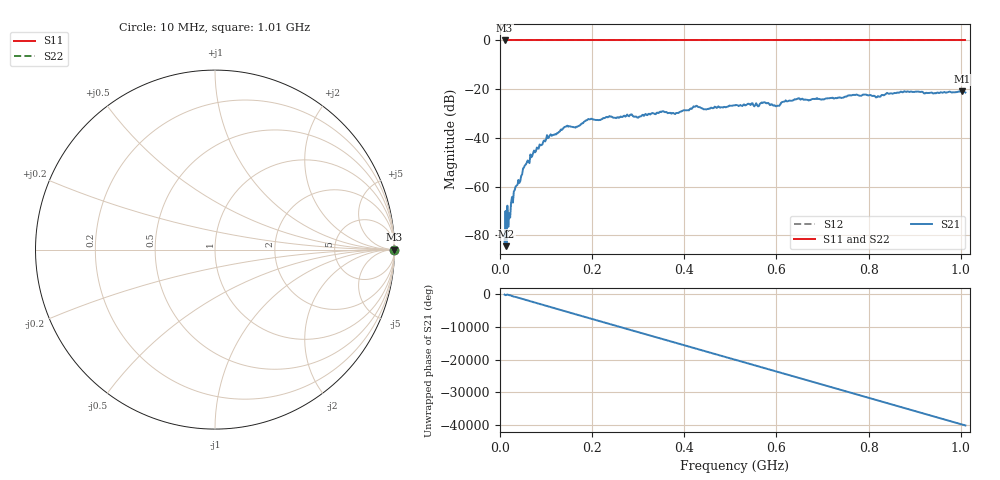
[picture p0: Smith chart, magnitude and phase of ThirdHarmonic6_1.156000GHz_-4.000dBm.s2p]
! 8/16/2025 11:31:48 AM
! C:\ANRITSUVNA\TEMP\TEMP.S2P
! CHANNEL.1
! TR.MEASUREMENT
! RAW.DATA
! RF.CORRECTION.OFF
! AVERAGING.OFF
! IF.BANDWIDTH: 5KHZ
! SWEEPTYPE:  FREQ.SWEEP(Linear)
! Reference Plane Port Info
! PORT:  PORT1  PORT2
! DISTANCE:  0  m  0  m
! TIME:  0  s  0  s
! PHASE.OFFSET:  0  deg.  0  deg.
! LOSS:  0  dB  0  dB
! REF.LOSS:  0  dB  0  dB
! REF.FREQ:  0  Hz  0  Hz
! Power Info
! POWER:  -20  dBm  -20  dBm
! EFF.POWER:  -20  dBm  -20  dBm
! SOURCE.ATTEN:  0  dB  0  dB
! TEST.ATTEN:  0  dB  0  dB
# GHZ S RI R 50.0
! FREQ.GHZ  S11RE  S11IM  S21RE  S21IM  S12RE  S12IM  S22RE  S22IM
!; PortSelection: Port_12
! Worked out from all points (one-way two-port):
!   501 points, 10 MHz to 1.01 GHz, reference 50 ohm
!   highest |S21| = -20.84 dB at 1.002 GHz (marker M1); lowest = -84.5 dB at 14 MHz (marker M2)
!   lowest |S11| = 0.0 dB at 10 MHz (marker M3)
!   |S11| at or under -10 dB: nowhere
!   |S22| runs from 0.0 to 0.0 dB; largest |S21 - S12| = 1.1
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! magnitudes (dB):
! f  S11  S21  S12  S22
! 10 MHz  0.0  -83.2  0.0  0.0
! 14 MHz  0.0  -84.5  0.0  0.0
! 16 MHz  0.0  -67.9  0.0  0.0
! 18 MHz  0.0  -76.6  0.0  0.0
! 28 MHz  0.0  -66.6  0.0  0.0
! 34 MHz  0.0  -59.9  0.0  0.0
! 54 MHz  0.0  -51.3  0.0  0.0
! 70 MHz  0.0  -47.4  0.0  0.0
! 106 MHz  0.0  -39.8  0.0  0.0
! 142 MHz  0.0  -35.5  0.0  0.0
! 178 MHz  0.0  -34.1  0.0  0.0
! 196 MHz  0.0  -32.4  0.0  0.0
! 344 MHz  0.0  -29.8  0.0  0.0
! 424 MHz  0.0  -27.2  0.0  0.0
! 510 MHz  0.0  -26.7  0.0  0.0
! 572 MHz  0.0  -25.5  0.0  0.0
! 602 MHz  0.0  -26.8  0.0  0.0
! 644 MHz  0.0  -24.0  0.0  0.0
! 678 MHz  0.0  -24.0  0.0  0.0
! 844 MHz  0.0  -21.9  0.0  0.0
! 1.002 GHz  0.0  -20.8  0.0  0.0
! 1.01 GHz  0.0  -21.4  0.0  0.0
